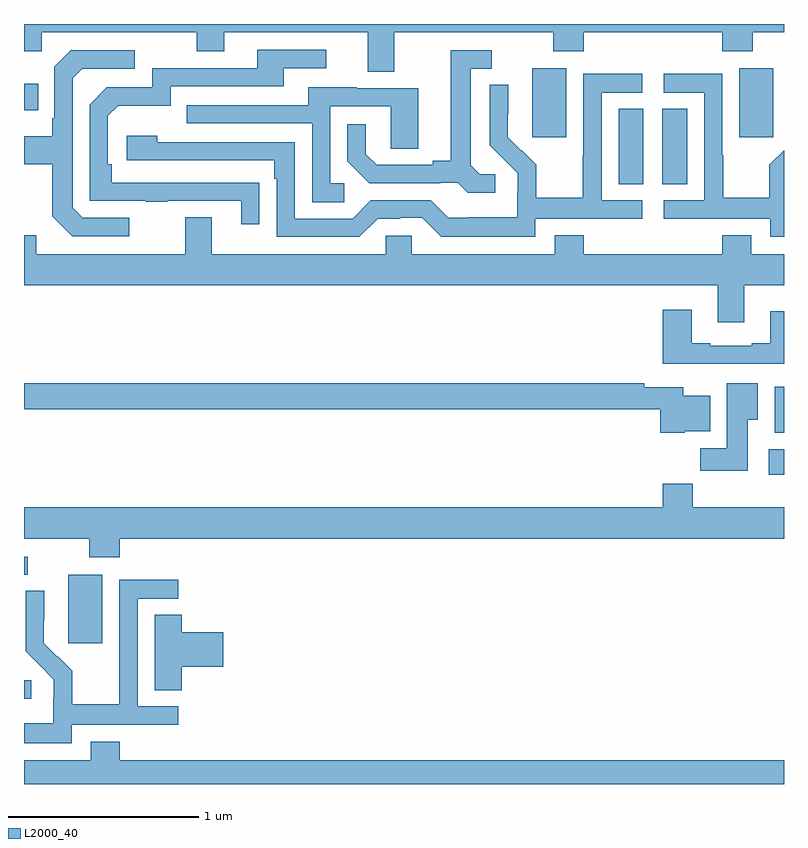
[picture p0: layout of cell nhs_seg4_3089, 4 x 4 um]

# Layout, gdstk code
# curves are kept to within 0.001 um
import gdstk
lib = gdstk.Library(unit=1e-6, precision=1e-09)
def R(c, l, rs):  # rectangles x0, y0, x1, y1
    for r in rs: c.add(gdstk.rectangle(r[:2], r[2:], *l))
def P(c, l, *ps):  # polygons
    for p in ps: c.add(gdstk.Polygon(p, *l))
L2000_40 = (2000, 40)

nhs_seg4_3089 = lib.new_cell('nhs_seg4_3089')
R(nhs_seg4_3089, L2000_40, [(275,757.349,275.038,757.446), (275.234,757.641,275.413,758.002), (275,758.001,275.02,758.097), (278.919,758.528,279,758.662), (278.951,758.75,279,758.992), (278.129,760.057,278.26,760.454), (278.36,760.057,278.491,760.454), (277.676,760.305,277.855,760.666), (278.765,760.305,278.944,760.666), (275,760.445,275.075,760.585)])
P(nhs_seg4_3089, L2000_40, [(276.949,760.856),(277.786,760.856),(277.786,760.757),(277.946,760.757),(277.946,760.856),(278.675,760.856),(278.675,760.757),(278.835,760.757),(278.835,760.856),(279,760.856),(279,760.9),(275,760.9),(275,760.757),(275.094,760.757),(275.094,760.856),(275.908,760.856),(275.908,760.757),(276.055,760.757),(276.055,760.856),(276.809,760.856),(276.809,760.648),(276.949,760.648)],
  [(276.239,760.064),(275.462,760.065),(275.462,760.162),(275.442,760.162),(275.442,760.416),(275.495,760.469),(275.772,760.469),(275.772,760.572),(276.367,760.572),(276.367,760.668),(276.592,760.668),(276.592,760.764),(276.227,760.764),(276.227,760.668),(275.676,760.668),(275.676,760.566),(275.436,760.566),(275.346,760.476),(275.346,759.969),(275.641,759.969),(275.641,759.964),(275.753,759.964),(275.753,759.969),(276.143,759.969),(276.143,759.846),(276.239,759.846)],
  [(277.48,760.11),(277.398,760.11),(277.351,760.157),(277.351,760.665),(277.462,760.665),(277.462,760.761),(277.247,760.761),(277.247,760.181),(277.151,760.181),(277.151,760.158),(276.856,760.158),(276.799,760.215),(276.799,760.372),(276.702,760.372),(276.702,760.178),(276.818,760.062),(277.19,760.062),(277.19,760.065),(277.284,760.065),(277.336,760.013),(277.48,760.013)],
  [(275.554,759.879),(275.31,759.879),(275.256,759.933),(275.256,760.614),(275.307,760.665),(275.584,760.665),(275.584,760.761),(275.247,760.761),(275.16,760.674),(275.16,760.405),(275.148,760.405),(275.148,760.309),(275,760.309),(275,760.162),(275.148,760.162),(275.148,759.889),(275.253,759.783),(275.554,759.783)],
  [(277.692,759.876),(278.254,759.876),(278.254,759.972),(278.04,759.972),(278.04,760.539),(278.254,760.539),(278.254,760.638),(277.944,760.638),(277.944,760.208),(277.942,760.208),(277.942,759.985),(277.697,759.985),(277.697,760.159),(277.62,760.236),(277.617,760.233),(277.547,760.304),(277.548,760.58),(277.452,760.58),(277.452,760.262),(277.598,760.114),(277.598,760.017),(277.596,760.017),(277.596,759.883),(277.333,759.883),(277.333,759.879),(277.233,759.879),(277.14,759.972),(276.825,759.972),(276.729,759.876),(276.426,759.876),(276.426,760.278),(275.702,760.278),(275.702,760.312),(275.541,760.312),(275.541,760.182),(276.317,760.182),(276.317,760.085),(276.33,760.085),(276.33,759.78),(276.765,759.78),(276.861,759.876),(276.98,759.876),(276.98,759.879),(277.095,759.879),(277.195,759.779),(277.692,759.779)],
  [(279,760.236),(278.923,760.159),(278.923,759.985),(278.679,759.985),(278.679,760.208),(278.676,760.208),(278.676,760.638),(278.367,760.638),(278.367,760.539),(278.58,760.539),(278.58,759.972),(278.367,759.972),(278.367,759.876),(278.928,759.876),(278.928,759.779),(279,759.779)],
  [(276.685,760.062),(276.612,760.062),(276.612,760.467),(276.93,760.467),(276.93,760.243),(277.075,760.243),(277.075,760.563),(276.751,760.563),(276.751,760.567),(276.497,760.567),(276.497,760.473),(275.857,760.473),(275.857,760.377),(276.516,760.377),(276.516,759.961),(276.685,759.961)],
  [(278.791,759.524),(279,759.524),(279,759.688),(278.827,759.688),(278.827,759.787),(278.675,759.787),(278.675,759.688),(277.946,759.688),(277.946,759.787),(277.793,759.787),(277.793,759.688),(277.041,759.688),(277.041,759.786),(276.903,759.786),(276.903,759.688),(275.989,759.688),(275.989,759.883),(275.849,759.883),(275.849,759.688),(275.065,759.688),(275.065,759.787),(275,759.787),(275,759.524),(278.651,759.524),(278.651,759.33),(278.791,759.33)],
  [(279,759.388),(278.927,759.388),(278.927,759.22),(278.831,759.22),(278.831,759.207),(278.611,759.207),(278.611,759.22),(278.515,759.22),(278.515,759.397),(278.363,759.397),(278.363,759.111),(279,759.111)],
  [(278.809,758.816),(278.863,758.816),(278.863,759.01),(278.699,759.01),(278.699,758.668),(278.56,758.668),(278.56,758.55),(278.809,758.55)],
  [(278.478,758.756),(278.611,758.756),(278.611,758.944),(278.47,758.944),(278.47,758.988),(278.264,758.988),(278.264,759.008),(275,759.008),(275,758.872),(278.348,758.872),(278.348,758.75),(278.478,758.75)],
  [(275.504,758.192),(279,758.192),(279,758.356),(278.519,758.356),(278.519,758.48),(278.363,758.48),(278.363,758.356),(275,758.356),(275,758.192),(275.344,758.192),(275.344,758.093),(275.504,758.093)],
  [(275.25,757.212),(275.812,757.212),(275.812,757.308),(275.598,757.308),(275.598,757.875),(275.812,757.875),(275.812,757.974),(275.502,757.974),(275.502,757.544),(275.5,757.544),(275.5,757.321),(275.255,757.321),(275.255,757.495),(275.178,757.572),(275.175,757.569),(275.105,757.64),(275.106,757.916),(275.01,757.916),(275.01,757.598),(275.156,757.45),(275.156,757.353),(275.154,757.353),(275.154,757.219),(275,757.219),(275,757.115),(275.25,757.115)],
  [(275.831,757.517),(276.049,757.517),(276.049,757.7),(275.831,757.7),(275.831,757.79),(275.687,757.79),(275.687,757.393),(275.831,757.393)],
  [(279,757.024),(275.504,757.024),(275.504,757.123),(275.351,757.123),(275.351,757.024),(275,757.024),(275,756.9),(279,756.9)])

lib.write_gds('nhs_seg4_3089.gds')
